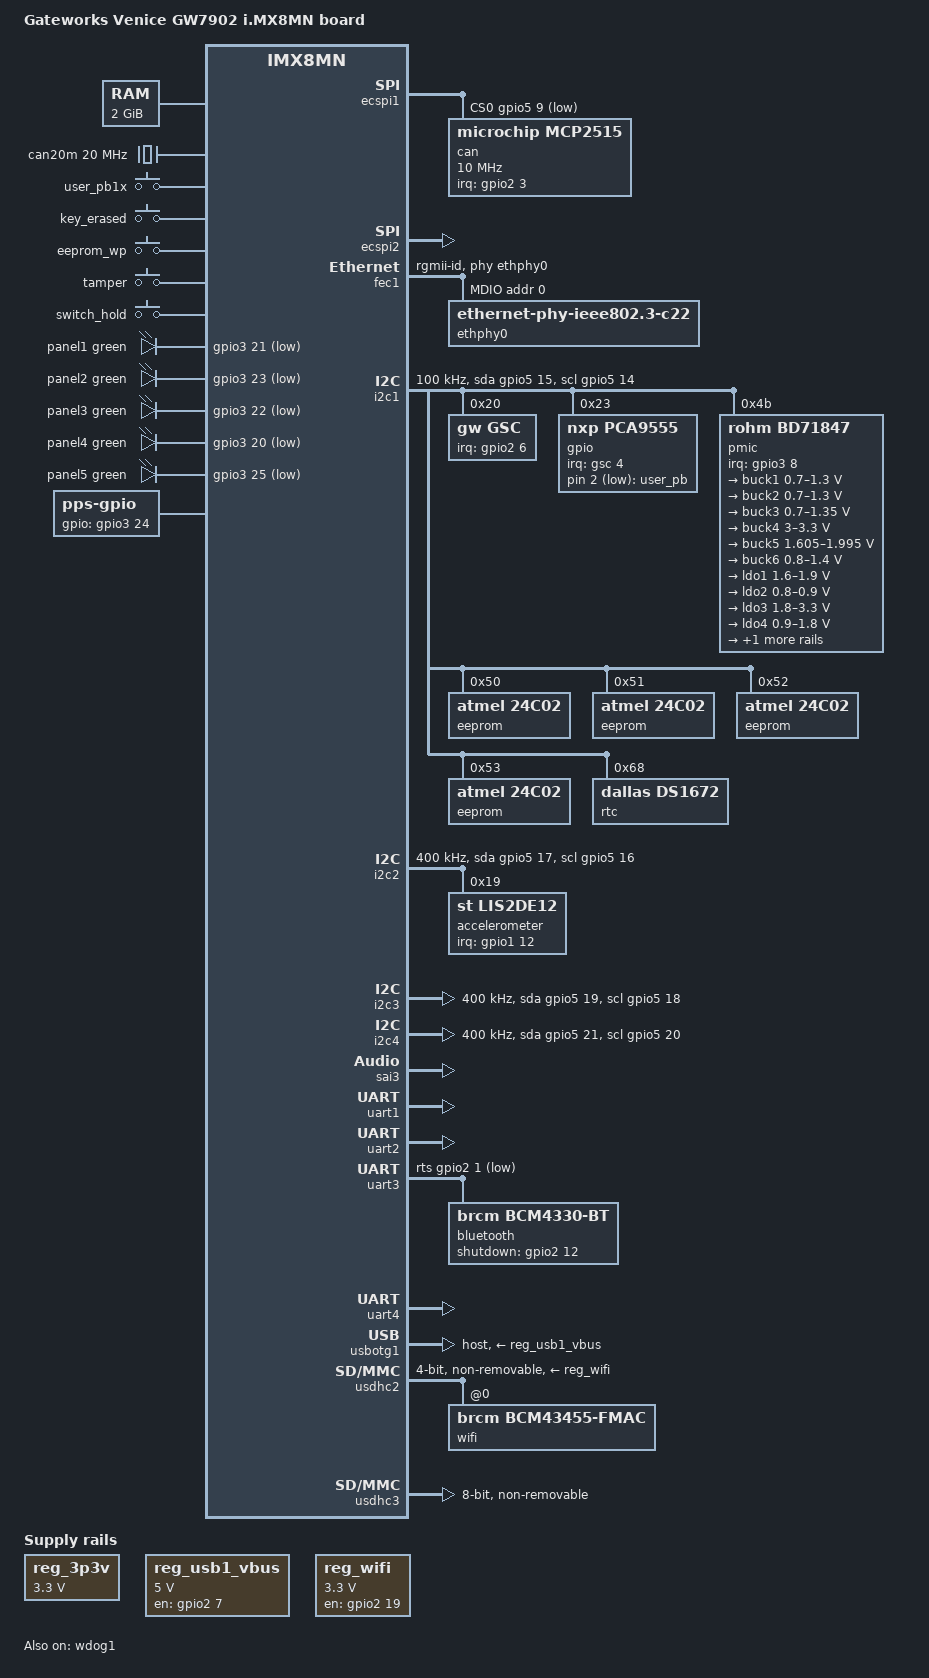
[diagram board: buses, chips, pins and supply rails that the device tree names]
// SPDX-License-Identifier: (GPL-2.0+ OR MIT)
/*
 * Copyright 2021 Gateworks Corporation
 */

/dts-v1/;

#include <dt-bindings/gpio/gpio.h>
#include <dt-bindings/input/linux-event-codes.h>
#include <dt-bindings/leds/common.h>
#include <dt-bindings/net/ti-dp83867.h>

#include "imx8mn.dtsi"

/ {
	model = "Gateworks Venice GW7902 i.MX8MN board";
	compatible = "gw,imx8mn-gw7902", "fsl,imx8mn";

	aliases {
		usb0 = &usbotg1;
	};

	chosen {
		stdout-path = &uart2;
	};

	memory@40000000 {
		device_type = "memory";
		reg = <0x0 0x40000000 0 0x80000000>;
	};

	can20m: can20m {
		compatible = "fixed-clock";
		#clock-cells = <0>;
		clock-frequency = <20000000>;
		clock-output-names = "can20m";
	};

	gpio-keys {
		compatible = "gpio-keys";

		key-user-pb {
			label = "user_pb";
			gpios = <&gpio 2 GPIO_ACTIVE_LOW>;
			linux,code = <BTN_0>;
		};

		key-user-pb1x {
			label = "user_pb1x";
			linux,code = <BTN_1>;
			interrupt-parent = <&gsc>;
			interrupts = <0>;
		};

		key-erased {
			label = "key_erased";
			linux,code = <BTN_2>;
			interrupt-parent = <&gsc>;
			interrupts = <1>;
		};

		key-eeprom-wp {
			label = "eeprom_wp";
			linux,code = <BTN_3>;
			interrupt-parent = <&gsc>;
			interrupts = <2>;
		};

		key-tamper {
			label = "tamper";
			linux,code = <BTN_4>;
			interrupt-parent = <&gsc>;
			interrupts = <5>;
		};

		switch-hold {
			label = "switch_hold";
			linux,code = <BTN_5>;
			interrupt-parent = <&gsc>;
			interrupts = <7>;
		};
	};

	led-controller {
		compatible = "gpio-leds";
		pinctrl-names = "default";
		pinctrl-0 = <&pinctrl_gpio_leds>;

		led-0 {
			function = LED_FUNCTION_STATUS;
			color = <LED_COLOR_ID_GREEN>;
			label = "panel1";
			gpios = <&gpio3 21 GPIO_ACTIVE_LOW>;
			default-state = "off";
		};

		led-1 {
			function = LED_FUNCTION_STATUS;
			color = <LED_COLOR_ID_GREEN>;
			label = "panel2";
			gpios = <&gpio3 23 GPIO_ACTIVE_LOW>;
			default-state = "off";
		};

		led-2 {
			function = LED_FUNCTION_STATUS;
			color = <LED_COLOR_ID_GREEN>;
			label = "panel3";
			gpios = <&gpio3 22 GPIO_ACTIVE_LOW>;
			default-state = "off";
		};

		led-3 {
			function = LED_FUNCTION_STATUS;
			color = <LED_COLOR_ID_GREEN>;
			label = "panel4";
			gpios = <&gpio3 20 GPIO_ACTIVE_LOW>;
			default-state = "off";
		};

		led-4 {
			function = LED_FUNCTION_STATUS;
			color = <LED_COLOR_ID_GREEN>;
			label = "panel5";
			gpios = <&gpio3 25 GPIO_ACTIVE_LOW>;
			default-state = "off";
		};
	};

	pps {
		compatible = "pps-gpio";
		pinctrl-names = "default";
		pinctrl-0 = <&pinctrl_pps>;
		gpios = <&gpio3 24 GPIO_ACTIVE_HIGH>;
		status = "okay";
	};

	reg_3p3v: regulator-3p3v {
		compatible = "regulator-fixed";
		regulator-name = "3P3V";
		regulator-min-microvolt = <3300000>;
		regulator-max-microvolt = <3300000>;
		regulator-always-on;
	};

	reg_usb1_vbus: regulator-usb1 {
		compatible = "regulator-fixed";
		pinctrl-names = "default";
		pinctrl-0 = <&pinctrl_reg_usb1>;
		regulator-name = "usb_usb1_vbus";
		gpio = <&gpio2 7 GPIO_ACTIVE_HIGH>;
		enable-active-high;
		regulator-min-microvolt = <5000000>;
		regulator-max-microvolt = <5000000>;
	};

	reg_wifi: regulator-wifi {
		compatible = "regulator-fixed";
		pinctrl-names = "default";
		pinctrl-0 = <&pinctrl_reg_wl>;
		regulator-name = "wifi";
		gpio = <&gpio2 19 GPIO_ACTIVE_HIGH>;
		enable-active-high;
		startup-delay-us = <100>;
		regulator-min-microvolt = <3300000>;
		regulator-max-microvolt = <3300000>;
	};
};

&A53_0 {
	cpu-supply = <&buck2>;
};

&A53_1 {
	cpu-supply = <&buck2>;
};

&A53_2 {
	cpu-supply = <&buck2>;
};

&A53_3 {
	cpu-supply = <&buck2>;
};

&ddrc {
	operating-points-v2 = <&ddrc_opp_table>;

	ddrc_opp_table: opp-table {
		compatible = "operating-points-v2";

		opp-25000000 {
			opp-hz = /bits/ 64 <25000000>;
		};

		opp-100000000 {
			opp-hz = /bits/ 64 <100000000>;
		};

		opp-750000000 {
			opp-hz = /bits/ 64 <750000000>;
		};
	};
};

&ecspi1 {
	pinctrl-names = "default";
	pinctrl-0 = <&pinctrl_spi1>;
	cs-gpios = <&gpio5 9 GPIO_ACTIVE_LOW>;
	status = "okay";

	can@0 {
		compatible = "microchip,mcp2515";
		reg = <0>;
		clocks = <&can20m>;
		interrupt-parent = <&gpio2>;
		interrupts = <3 IRQ_TYPE_LEVEL_LOW>;
		spi-max-frequency = <10000000>;
	};
};

&disp_blk_ctrl {
	status = "disabled";
};

/* off-board header */
&ecspi2 {
	pinctrl-names = "default";
	pinctrl-0 = <&pinctrl_spi2>;
	cs-gpios = <&gpio5 13 GPIO_ACTIVE_LOW>;
	status = "okay";
};

&fec1 {
	pinctrl-names = "default";
	pinctrl-0 = <&pinctrl_fec1>;
	phy-mode = "rgmii-id";
	phy-handle = <&ethphy0>;
	local-mac-address = [00 00 00 00 00 00];
	status = "okay";

	mdio {
		#address-cells = <1>;
		#size-cells = <0>;

		ethphy0: ethernet-phy@0 {
			compatible = "ethernet-phy-ieee802.3-c22";
			reg = <0>;
			ti,rx-internal-delay = <DP83867_RGMIIDCTL_2_00_NS>;
			ti,tx-internal-delay = <DP83867_RGMIIDCTL_2_00_NS>;
			tx-fifo-depth = <DP83867_PHYCR_FIFO_DEPTH_4_B_NIB>;
			rx-fifo-depth = <DP83867_PHYCR_FIFO_DEPTH_4_B_NIB>;
		};
	};
};

&gpio1 {
	gpio-line-names = "", "", "", "", "", "", "", "",
		"m2_pwr_en", "", "", "", "", "m2_reset", "", "m2_wdis#",
		"", "", "", "", "", "", "", "",
		"", "", "", "", "", "", "", "";
};

&gpio2 {
	gpio-line-names = "", "", "", "", "", "", "", "",
		"uart2_en#", "", "", "", "", "", "", "",
		"", "", "", "", "", "", "", "",
		"", "", "", "", "", "", "", "";
};

&gpio3 {
	gpio-line-names = "", "m2_gdis#", "", "", "", "", "", "m2_off#",
		"", "", "", "", "", "", "", "",
		"", "", "", "", "", "", "", "",
		"", "", "", "", "", "", "", "";
};

&gpio4 {
	gpio-line-names = "", "", "", "", "", "", "", "",
		"", "", "", "", "", "", "", "",
		"", "", "", "", "", "app_gpio1", "vdd_4p0_en", "uart1_rs485",
		"", "uart1_term", "uart1_half", "app_gpio2",
		"mipi_gpio1", "", "", "";
};

&gpio5 {
	gpio-line-names = "", "", "", "mipi_gpio4",
		"mipi_gpio3", "mipi_gpio2", "", "",
		"", "", "", "", "", "", "", "",
		"", "", "", "", "", "", "", "",
		"", "", "", "", "", "", "", "";
};

&gpu {
	status = "disabled";
};

&i2c1 {
	clock-frequency = <100000>;
	pinctrl-names = "default", "gpio";
	pinctrl-0 = <&pinctrl_i2c1>;
	pinctrl-1 = <&pinctrl_i2c1_gpio>;
	scl-gpios = <&gpio5 14 (GPIO_ACTIVE_HIGH | GPIO_OPEN_DRAIN)>;
	sda-gpios = <&gpio5 15 (GPIO_ACTIVE_HIGH | GPIO_OPEN_DRAIN)>;
	status = "okay";

	gsc: gsc@20 {
		compatible = "gw,gsc";
		reg = <0x20>;
		pinctrl-0 = <&pinctrl_gsc>;
		interrupt-parent = <&gpio2>;
		interrupts = <6 IRQ_TYPE_EDGE_FALLING>;
		interrupt-controller;
		#interrupt-cells = <1>;

		adc {
			compatible = "gw,gsc-adc";
			#address-cells = <1>;
			#size-cells = <0>;

			channel@6 {
				gw,mode = <0>;
				reg = <0x06>;
				label = "temp";
			};

			channel@8 {
				gw,mode = <3>;
				reg = <0x08>;
				label = "vdd_bat";
			};

			channel@82 {
				gw,mode = <2>;
				reg = <0x82>;
				label = "vin";
				gw,voltage-divider-ohms = <22100 1000>;
				gw,voltage-offset-microvolt = <700000>;
			};

			channel@84 {
				gw,mode = <2>;
				reg = <0x84>;
				label = "vin_4p0";
				gw,voltage-divider-ohms = <10000 10000>;
			};

			channel@86 {
				gw,mode = <2>;
				reg = <0x86>;
				label = "vdd_3p3";
				gw,voltage-divider-ohms = <10000 10000>;
			};

			channel@88 {
				gw,mode = <2>;
				reg = <0x88>;
				label = "vdd_0p9";
			};

			channel@8c {
				gw,mode = <2>;
				reg = <0x8c>;
				label = "vdd_soc";
			};

			channel@8e {
				gw,mode = <2>;
				reg = <0x8e>;
				label = "vdd_arm";
			};

			channel@90 {
				gw,mode = <2>;
				reg = <0x90>;
				label = "vdd_1p8";
			};

			channel@92 {
				gw,mode = <2>;
				reg = <0x92>;
				label = "vdd_dram";
			};

			channel@98 {
				gw,mode = <2>;
				reg = <0x98>;
				label = "vdd_1p0";
			};

			channel@9a {
				gw,mode = <2>;
				reg = <0x9a>;
				label = "vdd_2p5";
				gw,voltage-divider-ohms = <10000 10000>;
			};

			channel@9c {
				gw,mode = <2>;
				reg = <0x9c>;
				label = "vdd_5p0";
				gw,voltage-divider-ohms = <10000 10000>;
			};

			channel@a2 {
				gw,mode = <2>;
				reg = <0xa2>;
				label = "vdd_gsc";
				gw,voltage-divider-ohms = <10000 10000>;
			};
		};
	};

	gpio: gpio@23 {
		compatible = "nxp,pca9555";
		reg = <0x23>;
		gpio-controller;
		#gpio-cells = <2>;
		interrupt-parent = <&gsc>;
		interrupts = <4>;
	};

	pmic@4b {
		compatible = "rohm,bd71847";
		reg = <0x4b>;
		pinctrl-names = "default";
		pinctrl-0 = <&pinctrl_pmic>;
		interrupt-parent = <&gpio3>;
		interrupts = <8 IRQ_TYPE_LEVEL_LOW>;
		rohm,reset-snvs-powered;
		#clock-cells = <0>;
		clocks = <&osc_32k>;
		clock-output-names = "clk-32k-out";

		regulators {
			/* vdd_soc: 0.805-0.900V (typ=0.8V) */
			BUCK1 {
				regulator-name = "buck1";
				regulator-min-microvolt = <700000>;
				regulator-max-microvolt = <1300000>;
				regulator-boot-on;
				regulator-always-on;
				regulator-ramp-delay = <1250>;
			};

			/* vdd_arm: 0.805-1.0V (typ=0.9V) */
			buck2: BUCK2 {
				regulator-name = "buck2";
				regulator-min-microvolt = <700000>;
				regulator-max-microvolt = <1300000>;
				regulator-boot-on;
				regulator-always-on;
				regulator-ramp-delay = <1250>;
				rohm,dvs-run-voltage = <1000000>;
				rohm,dvs-idle-voltage = <900000>;
			};

			/* vdd_0p9: 0.805-1.0V (typ=0.9V) */
			BUCK3 {
				regulator-name = "buck3";
				regulator-min-microvolt = <700000>;
				regulator-max-microvolt = <1350000>;
				regulator-boot-on;
				regulator-always-on;
			};

			/* vdd_3p3 */
			BUCK4 {
				regulator-name = "buck4";
				regulator-min-microvolt = <3000000>;
				regulator-max-microvolt = <3300000>;
				regulator-boot-on;
				regulator-always-on;
			};

			/* vdd_1p8 */
			BUCK5 {
				regulator-name = "buck5";
				regulator-min-microvolt = <1605000>;
				regulator-max-microvolt = <1995000>;
				regulator-boot-on;
				regulator-always-on;
			};

			/* vdd_dram */
			BUCK6 {
				regulator-name = "buck6";
				regulator-min-microvolt = <800000>;
				regulator-max-microvolt = <1400000>;
				regulator-boot-on;
				regulator-always-on;
			};

			/* nvcc_snvs_1p8 */
			LDO1 {
				regulator-name = "ldo1";
				regulator-min-microvolt = <1600000>;
				regulator-max-microvolt = <1900000>;
				regulator-boot-on;
				regulator-always-on;
			};

			/* vdd_snvs_0p8 */
			LDO2 {
				regulator-name = "ldo2";
				regulator-min-microvolt = <800000>;
				regulator-max-microvolt = <900000>;
				regulator-boot-on;
				regulator-always-on;
			};

			/* vdda_1p8 */
			LDO3 {
				regulator-name = "ldo3";
				regulator-min-microvolt = <1800000>;
				regulator-max-microvolt = <3300000>;
				regulator-boot-on;
				regulator-always-on;
			};

			LDO4 {
				regulator-name = "ldo4";
				regulator-min-microvolt = <900000>;
				regulator-max-microvolt = <1800000>;
				regulator-boot-on;
				regulator-always-on;
			};

			LDO6 {
				regulator-name = "ldo6";
				regulator-min-microvolt = <900000>;
				regulator-max-microvolt = <1800000>;
				regulator-boot-on;
				regulator-always-on;
			};
		};
	};

	eeprom@50 {
		compatible = "atmel,24c02";
		reg = <0x50>;
		pagesize = <16>;
	};

	eeprom@51 {
		compatible = "atmel,24c02";
		reg = <0x51>;
		pagesize = <16>;
	};

	eeprom@52 {
		compatible = "atmel,24c02";
		reg = <0x52>;
		pagesize = <16>;
	};

	eeprom@53 {
		compatible = "atmel,24c02";
		reg = <0x53>;
		pagesize = <16>;
	};

	rtc@68 {
		compatible = "dallas,ds1672";
		reg = <0x68>;
	};
};

&i2c2 {
	clock-frequency = <400000>;
	pinctrl-names = "default", "gpio";
	pinctrl-0 = <&pinctrl_i2c2>;
	pinctrl-1 = <&pinctrl_i2c2_gpio>;
	scl-gpios = <&gpio5 16 (GPIO_ACTIVE_HIGH | GPIO_OPEN_DRAIN)>;
	sda-gpios = <&gpio5 17 (GPIO_ACTIVE_HIGH | GPIO_OPEN_DRAIN)>;
	status = "okay";

	accelerometer@19 {
		compatible = "st,lis2de12";
		pinctrl-names = "default";
		pinctrl-0 = <&pinctrl_accel>;
		reg = <0x19>;
		st,drdy-int-pin = <1>;
		interrupt-parent = <&gpio1>;
		interrupts = <12 IRQ_TYPE_LEVEL_LOW>;
	};
};

/* off-board header */
&i2c3 {
	clock-frequency = <400000>;
	pinctrl-names = "default", "gpio";
	pinctrl-0 = <&pinctrl_i2c3>;
	pinctrl-1 = <&pinctrl_i2c3_gpio>;
	scl-gpios = <&gpio5 18 (GPIO_ACTIVE_HIGH | GPIO_OPEN_DRAIN)>;
	sda-gpios = <&gpio5 19 (GPIO_ACTIVE_HIGH | GPIO_OPEN_DRAIN)>;
	status = "okay";
};

/* off-board header */
&i2c4 {
	clock-frequency = <400000>;
	pinctrl-names = "default", "gpio";
	pinctrl-0 = <&pinctrl_i2c4>;
	pinctrl-1 = <&pinctrl_i2c4_gpio>;
	scl-gpios = <&gpio5 20 (GPIO_ACTIVE_HIGH | GPIO_OPEN_DRAIN)>;
	sda-gpios = <&gpio5 21 (GPIO_ACTIVE_HIGH | GPIO_OPEN_DRAIN)>;
	status = "okay";
};

&pgc_gpumix {
	status = "disabled";
};

/* off-board header */
&sai3 {
	pinctrl-names = "default";
	pinctrl-0 = <&pinctrl_sai3>;
	assigned-clocks = <&clk IMX8MN_CLK_SAI3>;
	assigned-clock-parents = <&clk IMX8MN_AUDIO_PLL1_OUT>;
	assigned-clock-rates = <24576000>;
	status = "okay";
};

/* RS232/RS485/RS422 selectable */
&uart1 {
	pinctrl-names = "default";
	pinctrl-0 = <&pinctrl_uart1>, <&pinctrl_uart1_gpio>;
	status = "okay";
};

/* RS232 console */
&uart2 {
	pinctrl-names = "default";
	pinctrl-0 = <&pinctrl_uart2>;
	status = "okay";
};

/* bluetooth HCI */
&uart3 {
	pinctrl-names = "default";
	pinctrl-0 = <&pinctrl_uart3>, <&pinctrl_uart3_gpio>;
	rts-gpios = <&gpio2 1 GPIO_ACTIVE_LOW>;
	cts-gpios = <&gpio2 0 GPIO_ACTIVE_LOW>;
	status = "okay";

	bluetooth {
		compatible = "brcm,bcm4330-bt";
		shutdown-gpios = <&gpio2 12 GPIO_ACTIVE_HIGH>;
	};
};

/* LTE Cat M1/NB1/EGPRS modem or GPS (loading option) */
&uart4 {
	pinctrl-names = "default";
	pinctrl-0 = <&pinctrl_uart4>;
	status = "okay";
};

&usbotg1 {
	dr_mode = "host";
	vbus-supply = <&reg_usb1_vbus>;
	disable-over-current;
	status = "okay";
};

/* SDIO WiFi */
&usdhc2 {
	pinctrl-names = "default", "state_100mhz", "state_200mhz";
	pinctrl-0 = <&pinctrl_usdhc2>;
	pinctrl-1 = <&pinctrl_usdhc2_100mhz>;
	pinctrl-2 = <&pinctrl_usdhc2_200mhz>;
	bus-width = <4>;
	non-removable;
	vmmc-supply = <&reg_wifi>;
	#address-cells = <1>;
	#size-cells = <0>;
	status = "okay";

	wifi@0 {
		compatible = "brcm,bcm43455-fmac", "brcm,bcm4329-fmac";
		reg = <0>;
	};
};

/* eMMC */
&usdhc3 {
	pinctrl-names = "default", "state_100mhz", "state_200mhz";
	pinctrl-0 = <&pinctrl_usdhc3>;
	pinctrl-1 = <&pinctrl_usdhc3_100mhz>;
	pinctrl-2 = <&pinctrl_usdhc3_200mhz>;
	bus-width = <8>;
	non-removable;
	status = "okay";
};

&wdog1 {
	pinctrl-names = "default";
	pinctrl-0 = <&pinctrl_wdog>;
	fsl,ext-reset-output;
	status = "okay";
};

&iomuxc {
	pinctrl-names = "default";
	pinctrl-0 = <&pinctrl_hog>;

	pinctrl_hog: hoggrp {
		fsl,pins = <
			MX8MN_IOMUXC_NAND_CE0_B_GPIO3_IO1	0x40000159 /* M2_GDIS# */
			MX8MN_IOMUXC_GPIO1_IO08_GPIO1_IO8	0x40000041 /* M2_PWR_EN */
			MX8MN_IOMUXC_GPIO1_IO13_GPIO1_IO13	0x40000041 /* M2_RESET */
			MX8MN_IOMUXC_NAND_DATA01_GPIO3_IO7	0x40000119 /* M2_OFF# */
			MX8MN_IOMUXC_GPIO1_IO15_GPIO1_IO15	0x40000159 /* M2_WDIS# */
			MX8MN_IOMUXC_SAI2_RXFS_GPIO4_IO21	0x40000041 /* APP GPIO1 */
			MX8MN_IOMUXC_SAI2_RXC_GPIO4_IO22	0x40000041 /* VDD_4P0_EN */
			MX8MN_IOMUXC_SAI2_MCLK_GPIO4_IO27	0x40000041 /* APP GPIO2 */
			MX8MN_IOMUXC_SD1_DATA6_GPIO2_IO8	0x40000041 /* UART2_EN# */
			MX8MN_IOMUXC_SAI3_RXFS_GPIO4_IO28	0x40000041 /* MIPI_GPIO1 */
			MX8MN_IOMUXC_SPDIF_EXT_CLK_GPIO5_IO5	0x40000041 /* MIPI_GPIO2 */
			MX8MN_IOMUXC_SPDIF_RX_GPIO5_IO4		0x40000041 /* MIPI_GPIO3/PWM2 */
			MX8MN_IOMUXC_SPDIF_TX_GPIO5_IO3		0x40000041 /* MIPI_GPIO4/PWM3 */
		>;
	};

	pinctrl_accel: accelgrp {
		fsl,pins = <
			MX8MN_IOMUXC_GPIO1_IO12_GPIO1_IO12	0x159
		>;
	};

	pinctrl_fec1: fec1grp {
		fsl,pins = <
			MX8MN_IOMUXC_ENET_MDC_ENET1_MDC			0x3
			MX8MN_IOMUXC_ENET_MDIO_ENET1_MDIO		0x3
			MX8MN_IOMUXC_ENET_TD3_ENET1_RGMII_TD3		0x1f
			MX8MN_IOMUXC_ENET_TD2_ENET1_RGMII_TD2		0x1f
			MX8MN_IOMUXC_ENET_TD1_ENET1_RGMII_TD1		0x1f
			MX8MN_IOMUXC_ENET_TD0_ENET1_RGMII_TD0		0x1f
			MX8MN_IOMUXC_ENET_RD3_ENET1_RGMII_RD3		0x91
			MX8MN_IOMUXC_ENET_RD2_ENET1_RGMII_RD2		0x91
			MX8MN_IOMUXC_ENET_RD1_ENET1_RGMII_RD1		0x91
			MX8MN_IOMUXC_ENET_RD0_ENET1_RGMII_RD0		0x91
			MX8MN_IOMUXC_ENET_TXC_ENET1_RGMII_TXC		0x1f
			MX8MN_IOMUXC_ENET_RXC_ENET1_RGMII_RXC		0x91
			MX8MN_IOMUXC_ENET_RX_CTL_ENET1_RGMII_RX_CTL	0x91
			MX8MN_IOMUXC_ENET_TX_CTL_ENET1_RGMII_TX_CTL	0x1f
			MX8MN_IOMUXC_GPIO1_IO10_GPIO1_IO10		0x19 /* RST# */
			MX8MN_IOMUXC_GPIO1_IO11_GPIO1_IO11		0x19 /* IRQ# */
		>;
	};

	pinctrl_gsc: gscgrp {
		fsl,pins = <
			MX8MN_IOMUXC_SD1_DATA4_GPIO2_IO6	0x40
		>;
	};

	pinctrl_i2c1: i2c1grp {
		fsl,pins = <
			MX8MN_IOMUXC_I2C1_SCL_I2C1_SCL		0x400001c3
			MX8MN_IOMUXC_I2C1_SDA_I2C1_SDA		0x400001c3
		>;
	};

	pinctrl_i2c1_gpio: i2c1gpiogrp {
		fsl,pins = <
			MX8MN_IOMUXC_I2C1_SCL_GPIO5_IO14	0x400001c3
			MX8MN_IOMUXC_I2C1_SDA_GPIO5_IO15	0x400001c3
		>;
	};

	pinctrl_i2c2: i2c2grp {
		fsl,pins = <
			MX8MN_IOMUXC_I2C2_SCL_I2C2_SCL		0x400001c3
			MX8MN_IOMUXC_I2C2_SDA_I2C2_SDA		0x400001c3
		>;
	};

	pinctrl_i2c2_gpio: i2c2gpiogrp {
		fsl,pins = <
			MX8MN_IOMUXC_I2C2_SCL_GPIO5_IO16	0x400001c3
			MX8MN_IOMUXC_I2C2_SDA_GPIO5_IO17	0x400001c3
		>;
	};

	pinctrl_i2c3: i2c3grp {
		fsl,pins = <
			MX8MN_IOMUXC_I2C3_SCL_I2C3_SCL		0x400001c3
			MX8MN_IOMUXC_I2C3_SDA_I2C3_SDA		0x400001c3
		>;
	};

	pinctrl_i2c3_gpio: i2c3gpiogrp {
		fsl,pins = <
			MX8MN_IOMUXC_I2C3_SCL_GPIO5_IO18	0x400001c3
			MX8MN_IOMUXC_I2C3_SDA_GPIO5_IO19	0x400001c3
		>;
	};

	pinctrl_i2c4: i2c4grp {
		fsl,pins = <
			MX8MN_IOMUXC_I2C4_SCL_I2C4_SCL		0x400001c3
			MX8MN_IOMUXC_I2C4_SDA_I2C4_SDA		0x400001c3
		>;
	};

	pinctrl_i2c4_gpio: i2c4gpiogrp {
		fsl,pins = <
			MX8MN_IOMUXC_I2C4_SCL_GPIO5_IO20	0x400001c3
			MX8MN_IOMUXC_I2C4_SDA_GPIO5_IO21	0x400001c3
		>;
	};

	pinctrl_gpio_leds: gpioledgrp {
		fsl,pins = <
			MX8MN_IOMUXC_SAI5_RXD0_GPIO3_IO21	0x19
			MX8MN_IOMUXC_SAI5_RXD2_GPIO3_IO23	0x19
			MX8MN_IOMUXC_SAI5_RXD1_GPIO3_IO22	0x19
			MX8MN_IOMUXC_SAI5_RXC_GPIO3_IO20	0x19
			MX8MN_IOMUXC_SAI5_MCLK_GPIO3_IO25	0x19
		>;
	};

	pinctrl_pmic: pmicgrp {
		fsl,pins = <
			MX8MN_IOMUXC_NAND_DATA02_GPIO3_IO8	0x41
		>;
	};

	pinctrl_pps: ppsgrp {
		fsl,pins = <
			MX8MN_IOMUXC_SAI5_RXD3_GPIO3_IO24	0x141 /* PPS */
		>;
	};

	pinctrl_reg_wl: regwlgrp {
		fsl,pins = <
			MX8MN_IOMUXC_SD2_RESET_B_GPIO2_IO19	0x41 /* WLAN_WLON */
		>;
	};

	pinctrl_reg_usb1: regusb1grp {
		fsl,pins = <
			MX8MN_IOMUXC_SD1_DATA5_GPIO2_IO7	0x41
		>;
	};

	pinctrl_sai3: sai3grp {
		fsl,pins = <
			MX8MN_IOMUXC_SAI3_MCLK_SAI3_MCLK	0xd6
			MX8MN_IOMUXC_SAI3_RXD_SAI3_RX_DATA0	0xd6
			MX8MN_IOMUXC_SAI3_TXC_SAI3_TX_BCLK	0xd6
			MX8MN_IOMUXC_SAI3_TXD_SAI3_TX_DATA0	0xd6
			MX8MN_IOMUXC_SAI3_TXFS_SAI3_TX_SYNC	0xd6
		>;
	};

	pinctrl_spi1: spi1grp {
		fsl,pins = <
			MX8MN_IOMUXC_ECSPI1_SCLK_ECSPI1_SCLK	0x82
			MX8MN_IOMUXC_ECSPI1_MOSI_ECSPI1_MOSI	0x82
			MX8MN_IOMUXC_ECSPI1_MISO_ECSPI1_MISO	0x82
			MX8MN_IOMUXC_ECSPI1_SS0_GPIO5_IO9	0x40
			MX8MN_IOMUXC_SD1_DATA1_GPIO2_IO3	0x140 /* CAN_IRQ# */
		>;
	};

	pinctrl_spi2: spi2grp {
		fsl,pins = <
			MX8MN_IOMUXC_ECSPI2_SCLK_ECSPI2_SCLK	0x82
			MX8MN_IOMUXC_ECSPI2_MOSI_ECSPI2_MOSI	0x82
			MX8MN_IOMUXC_ECSPI2_MISO_ECSPI2_MISO	0x82
			MX8MN_IOMUXC_ECSPI2_SS0_GPIO5_IO13	0x40 /* SS0 */
		>;
	};

	pinctrl_uart1: uart1grp {
		fsl,pins = <
			MX8MN_IOMUXC_UART1_RXD_UART1_DCE_RX	0x140
			MX8MN_IOMUXC_UART1_TXD_UART1_DCE_TX	0x140
		>;
	};

	pinctrl_uart1_gpio: uart1gpiogrp {
		fsl,pins = <
			MX8MN_IOMUXC_SAI2_TXD0_GPIO4_IO26	0x40000110 /* HALF */
			MX8MN_IOMUXC_SAI2_TXC_GPIO4_IO25	0x40000110 /* TERM */
			MX8MN_IOMUXC_SAI2_RXD0_GPIO4_IO23	0x40000110 /* RS485 */
		>;
	};

	pinctrl_uart2: uart2grp {
		fsl,pins = <
			MX8MN_IOMUXC_UART2_RXD_UART2_DCE_RX	0x140
			MX8MN_IOMUXC_UART2_TXD_UART2_DCE_TX	0x140
		>;
	};

	pinctrl_uart3_gpio: uart3_gpiogrp {
		fsl,pins = <
			MX8MN_IOMUXC_SD2_CD_B_GPIO2_IO12	0x41 /* BT_EN# */
		>;
	};

	pinctrl_uart3: uart3grp {
		fsl,pins = <
			MX8MN_IOMUXC_UART3_RXD_UART3_DCE_RX	0x140
			MX8MN_IOMUXC_UART3_TXD_UART3_DCE_TX	0x140
			MX8MN_IOMUXC_SD1_CLK_GPIO2_IO0		0x140 /* CTS */
			MX8MN_IOMUXC_SD1_CMD_GPIO2_IO1		0x140 /* RTS */
		>;
	};

	pinctrl_uart4: uart4grp {
		fsl,pins = <
			MX8MN_IOMUXC_UART4_RXD_UART4_DCE_RX	0x140
			MX8MN_IOMUXC_UART4_TXD_UART4_DCE_TX	0x140
			MX8MN_IOMUXC_GPIO1_IO06_GPIO1_IO6	0x141 /* GNSS_GASP */
		>;
	};

	pinctrl_usdhc2: usdhc2grp {
		fsl,pins = <
			MX8MN_IOMUXC_SD2_CLK_USDHC2_CLK		0x190
			MX8MN_IOMUXC_SD2_CMD_USDHC2_CMD		0x1d0
			MX8MN_IOMUXC_SD2_DATA0_USDHC2_DATA0	0x1d0
			MX8MN_IOMUXC_SD2_DATA1_USDHC2_DATA1	0x1d0
			MX8MN_IOMUXC_SD2_DATA2_USDHC2_DATA2	0x1d0
			MX8MN_IOMUXC_SD2_DATA3_USDHC2_DATA3	0x1d0
		>;
	};

	pinctrl_usdhc2_100mhz: usdhc2-100mhzgrp {
		fsl,pins = <
			MX8MN_IOMUXC_SD2_CLK_USDHC2_CLK		0x194
			MX8MN_IOMUXC_SD2_CMD_USDHC2_CMD		0x1d4
			MX8MN_IOMUXC_SD2_DATA0_USDHC2_DATA0	0x1d4
			MX8MN_IOMUXC_SD2_DATA1_USDHC2_DATA1	0x1d4
			MX8MN_IOMUXC_SD2_DATA2_USDHC2_DATA2	0x1d4
			MX8MN_IOMUXC_SD2_DATA3_USDHC2_DATA3	0x1d4
		>;
	};

	pinctrl_usdhc2_200mhz: usdhc2-200mhzgrp {
		fsl,pins = <
			MX8MN_IOMUXC_SD2_CLK_USDHC2_CLK		0x196
			MX8MN_IOMUXC_SD2_CMD_USDHC2_CMD		0x1d6
			MX8MN_IOMUXC_SD2_DATA0_USDHC2_DATA0	0x1d6
			MX8MN_IOMUXC_SD2_DATA1_USDHC2_DATA1	0x1d6
			MX8MN_IOMUXC_SD2_DATA2_USDHC2_DATA2	0x1d6
			MX8MN_IOMUXC_SD2_DATA3_USDHC2_DATA3	0x1d6
		>;
	};

	pinctrl_usdhc3: usdhc3grp {
		fsl,pins = <
			MX8MN_IOMUXC_NAND_WE_B_USDHC3_CLK	0x190
			MX8MN_IOMUXC_NAND_WP_B_USDHC3_CMD	0x1d0
			MX8MN_IOMUXC_NAND_DATA04_USDHC3_DATA0	0x1d0
			MX8MN_IOMUXC_NAND_DATA05_USDHC3_DATA1	0x1d0
			MX8MN_IOMUXC_NAND_DATA06_USDHC3_DATA2	0x1d0
			MX8MN_IOMUXC_NAND_DATA07_USDHC3_DATA3	0x1d0
			MX8MN_IOMUXC_NAND_RE_B_USDHC3_DATA4	0x1d0
			MX8MN_IOMUXC_NAND_CE2_B_USDHC3_DATA5	0x1d0
			MX8MN_IOMUXC_NAND_CE3_B_USDHC3_DATA6	0x1d0
			MX8MN_IOMUXC_NAND_CLE_USDHC3_DATA7	0x1d0
			MX8MN_IOMUXC_NAND_CE1_B_USDHC3_STROBE	0x190
		>;
	};

	pinctrl_usdhc3_100mhz: usdhc3-100mhzgrp {
		fsl,pins = <
			MX8MN_IOMUXC_NAND_WE_B_USDHC3_CLK	0x194
			MX8MN_IOMUXC_NAND_WP_B_USDHC3_CMD	0x1d4
			MX8MN_IOMUXC_NAND_DATA04_USDHC3_DATA0	0x1d4
			MX8MN_IOMUXC_NAND_DATA05_USDHC3_DATA1	0x1d4
			MX8MN_IOMUXC_NAND_DATA06_USDHC3_DATA2	0x1d4
			MX8MN_IOMUXC_NAND_DATA07_USDHC3_DATA3	0x1d4
			MX8MN_IOMUXC_NAND_RE_B_USDHC3_DATA4	0x1d4
			MX8MN_IOMUXC_NAND_CE2_B_USDHC3_DATA5	0x1d4
			MX8MN_IOMUXC_NAND_CE3_B_USDHC3_DATA6	0x1d4
			MX8MN_IOMUXC_NAND_CLE_USDHC3_DATA7	0x1d4
			MX8MN_IOMUXC_NAND_CE1_B_USDHC3_STROBE	0x194
		>;
	};

	pinctrl_usdhc3_200mhz: usdhc3-200mhzgrp {
		fsl,pins = <
			MX8MN_IOMUXC_NAND_WE_B_USDHC3_CLK	0x196
			MX8MN_IOMUXC_NAND_WP_B_USDHC3_CMD	0x1d6
			MX8MN_IOMUXC_NAND_DATA04_USDHC3_DATA0	0x1d6
			MX8MN_IOMUXC_NAND_DATA05_USDHC3_DATA1	0x1d6
			MX8MN_IOMUXC_NAND_DATA06_USDHC3_DATA2	0x1d6
			MX8MN_IOMUXC_NAND_DATA07_USDHC3_DATA3	0x1d6
			MX8MN_IOMUXC_NAND_RE_B_USDHC3_DATA4	0x1d6
			MX8MN_IOMUXC_NAND_CE2_B_USDHC3_DATA5	0x1d6
			MX8MN_IOMUXC_NAND_CE3_B_USDHC3_DATA6	0x1d6
			MX8MN_IOMUXC_NAND_CLE_USDHC3_DATA7	0x1d6
			MX8MN_IOMUXC_NAND_CE1_B_USDHC3_STROBE	0x196
		>;
	};

	pinctrl_wdog: wdoggrp {
		fsl,pins = <
			MX8MN_IOMUXC_GPIO1_IO02_WDOG1_WDOG_B	0xc6
		>;
	};
};
